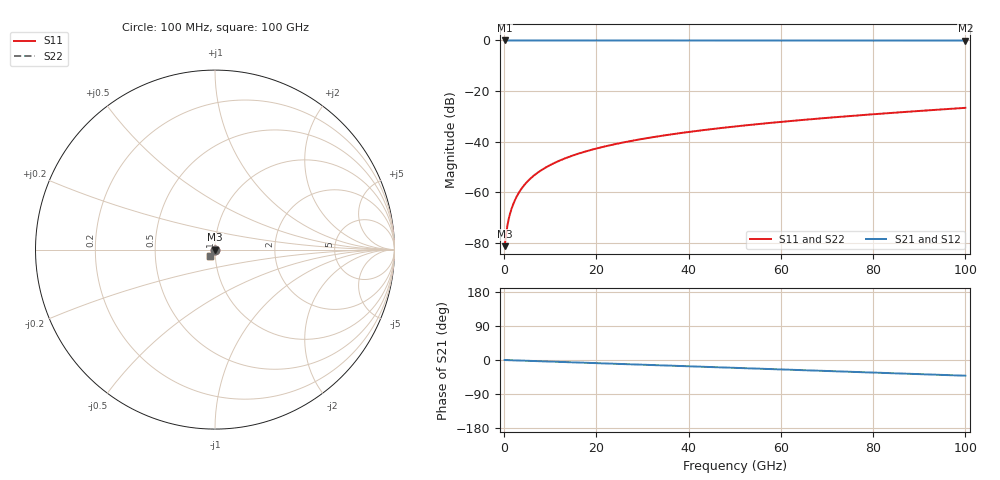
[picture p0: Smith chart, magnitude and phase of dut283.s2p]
! Touchstone file exported from HFSS 2026.1.0
!  File:  C:/ffzhzh/LocalFiles/Ansys_Project_Files/temp_train_TSV_283_1783508876_41296.aedt
!  Generated:  07:09:16 PM Jul  8, 2026
!  Design:  TSV
!  Project:  temp_train_TSV_283_1783508876_41296
! Variables:
!  h_bsmrdl = 2um
!  h_ox = 20um
!  h_rdl = 5um
!  h_sub = 82.09um
!  h_tmrdl = 5um
!  h_tsv = 82.09um
!  h_via = 3um
!  l_bsmrdl = 300um
!  l_sub = 426.76um
!  l_tmrdl = 200um
!  m_sub = 200um
!  pitch = 50.87um
!  r_tsv = 13.38um
!  s_tmrdl = 10um
!  w_bsmrdl = 18um
!  w_sub = 500um
!  w_tmrdl = 12um
!  x_tsv_center1 = 206um
!  x_tsv_center2 = 524um
!  x_tsv_center3 = 736um
!  x_tsv_center4 = 1054um
!  x_tsv_center5 = 1266um
!  x_tsv_center6 = 1584um
# GHz S MA R 50.000000
! Terminal data exported
! Port[1] = TSV1_1_T1
! Port[2] = TSV1_1_T2
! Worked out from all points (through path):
!   1000 points, 100 MHz to 100 GHz, reference 50 ohm
!   highest |S21| = 0.00 dB at 100 MHz (marker M1); lowest = 0.0 dB at 100 GHz (marker M2)
!   group delay of S21, straight-line fit = 1.15 ps
!   lowest |S11| = -81.4 dB at 100 MHz (marker M3), VSWR 1.00, Z = 50 + j0.000621 ohm
!   |S11| at or under -10 dB: start of sweep to end of sweep
!   |S22| runs from -81.4 to -26.7 dB; largest |S21 - S12| = 2.7e-15
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0.1  8.498e-05 4.2  0.9999 -0.0  0.9999 -0.0  8.498e-05 4.2
! Gamma 0 0 0 0
! Port Impedance 50 0 50 0
0.4  0.0001429 -5.0  0.9999 -0.2  0.9999 -0.2  0.0001429 -5.0
0.9  0.0002691 -31.7  0.9998 -0.4  0.9998 -0.4  0.0002691 -31.7
1.2  0.0003506 -41.7  0.9997 -0.5  0.9997 -0.5  0.0003506 -41.7
1.5  0.0004359 -48.5  0.9997 -0.6  0.9997 -0.6  0.0004358 -48.5
1.9  0.000555 -54.8  0.9997 -0.8  0.9997 -0.8  0.0005549 -54.8
2.5  0.0007435 -60.8  0.9996 -1.0  0.9996 -1.0  0.0007434 -60.8
3.1  0.0009413 -64.9  0.9996 -1.3  0.9996 -1.3  0.0009412 -64.9
3.9  0.001215 -68.8  0.9995 -1.6  0.9995 -1.6  0.001215 -68.8
4.7  0.001495 -71.7  0.9995 -2.0  0.9995 -2.0  0.001495 -71.7
5.7  0.001852 -74.4  0.9994 -2.4  0.9994 -2.4  0.001852 -74.5
6.8  0.002249 -76.8  0.9994 -2.8  0.9994 -2.8  0.002249 -76.8
9.5  0.003244 -80.8  0.9993 -3.9  0.9993 -3.9  0.003243 -80.8
12.8  0.00449 -84.2  0.9991 -5.3  0.9991 -5.3  0.004489 -84.2
16.8  0.006027 -87.5  0.999 -7.0  0.999 -7.0  0.006026 -87.5
24.1  0.008894 -92.3  0.9988 -10.0  0.9988 -10.0  0.008892 -92.3
33.4  0.01267 -97.5  0.9985 -13.8  0.9985 -13.8  0.01267 -97.6
41.2  0.01597 -101.5  0.9983 -17.0  0.9983 -17.0  0.01596 -101.6
50.1  0.01988 -105.8  0.998 -20.7  0.998 -20.7  0.01988 -105.9
66.7  0.02773 -113.6  0.9975 -27.6  0.9975 -27.6  0.02772 -113.8
83.4  0.03652 -121.3  0.9969 -34.5  0.9969 -34.5  0.03651 -121.5
100  0.0464 -129.0  0.9961 -41.5  0.9961 -41.5  0.04639 -129.2
